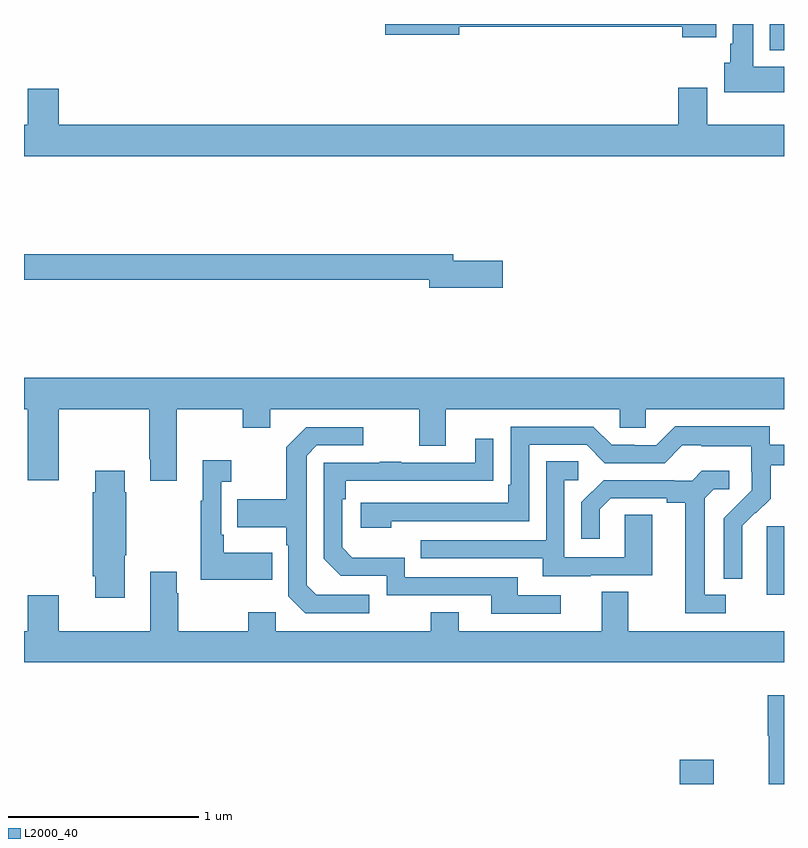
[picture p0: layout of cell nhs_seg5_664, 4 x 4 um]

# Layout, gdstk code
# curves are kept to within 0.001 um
import gdstk
lib = gdstk.Library(unit=1e-6, precision=1e-09)
def R(c, l, rs):  # rectangles x0, y0, x1, y1
    for r in rs: c.add(gdstk.rectangle(r[:2], r[2:], *l))
def P(c, l, *ps):  # polygons
    for p in ps: c.add(gdstk.Polygon(p, *l))
L2000_40 = (2000, 40)

nhs_seg5_664 = lib.new_cell('nhs_seg5_664')
R(nhs_seg5_664, L2000_40, [(156.452,842.799,156.63,842.926), (156.908,843.794,157,844.155), (156.926,846.662,157,846.799)])
P(nhs_seg5_664, L2000_40, [(157,846.574),(156.838,846.574),(156.838,846.799),(156.731,846.799),(156.731,846.694),(156.716,846.694),(156.716,846.594),(156.686,846.594),(156.686,846.44),(157,846.44)],
  [(156.643,846.799),(154.902,846.799),(154.902,846.742),(155.29,846.742),(155.29,846.784),(156.464,846.784),(156.464,846.728),(156.643,846.728)],
  [(157,846.268),(156.595,846.268),(156.595,846.463),(156.443,846.463),(156.443,846.268),(153.184,846.268),(153.184,846.457),(153.02,846.457),(153.02,846.268),(153,846.268),(153,846.104),(157,846.104)],
  [(155.521,845.552),(155.26,845.552),(155.26,845.588),(153,845.588),(153,845.452),(155.132,845.452),(155.132,845.41),(155.521,845.41)],
  [(153.805,844.772),(154.15,844.772),(154.15,844.673),(154.297,844.673),(154.297,844.772),(155.081,844.772),(155.081,844.578),(155.221,844.578),(155.221,844.772),(156.135,844.772),(156.135,844.674),(156.273,844.674),(156.273,844.772),(157,844.772),(157,844.936),(153,844.936),(153,844.772),(153.02,844.772),(153.02,844.398),(153.184,844.398),(153.184,844.772),(153.658,844.772),(153.658,844.507),(153.665,844.507),(153.665,844.395),(153.805,844.395)],
  [(156.78,844.034),(156.779,844.157),(156.849,844.227),(156.852,844.224),(156.929,844.301),(156.929,844.476),(157,844.476),(157,844.584),(156.924,844.584),(156.924,844.681),(156.427,844.681),(156.327,844.581),(156.212,844.581),(156.212,844.584),(156.093,844.584),(155.997,844.68),(155.562,844.68),(155.562,844.375),(155.549,844.375),(155.549,844.278),(154.773,844.278),(154.773,844.148),(154.934,844.148),(154.934,844.182),(155.658,844.182),(155.658,844.584),(155.961,844.584),(156.057,844.488),(156.372,844.488),(156.465,844.581),(156.565,844.581),(156.565,844.577),(156.828,844.577),(156.828,844.443),(156.83,844.443),(156.83,844.346),(156.684,844.198),(156.684,843.88),(156.78,843.88)],
  [(154.816,843.795),(154.539,843.795),(154.488,843.846),(154.488,844.527),(154.542,844.581),(154.786,844.581),(154.786,844.677),(154.485,844.677),(154.38,844.571),(154.38,844.299),(154.123,844.299),(154.123,844.151),(154.38,844.151),(154.38,844.055),(154.392,844.055),(154.392,843.786),(154.479,843.699),(154.816,843.699)],
  [(155.824,843.792),(155.599,843.792),(155.599,843.888),(155.004,843.888),(155.004,843.991),(154.727,843.991),(154.674,844.044),(154.674,844.298),(154.694,844.298),(154.694,844.395),(155.471,844.396),(155.471,844.615),(155.375,844.615),(155.375,844.491),(154.985,844.491),(154.985,844.496),(154.873,844.496),(154.873,844.491),(154.578,844.491),(154.578,843.984),(154.668,843.894),(154.908,843.894),(154.908,843.792),(155.459,843.792),(155.459,843.696),(155.824,843.696)],
  [(154.307,844.015),(154.051,844.015),(154.051,844.111),(154.038,844.111),(154.038,844.391),(154.09,844.391),(154.09,844.504),(153.941,844.504),(153.941,844.291),(153.93,844.291),(153.93,843.875),(154.307,843.875)],
  [(155.983,843.897),(156.307,843.897),(156.307,844.217),(156.162,844.217),(156.162,843.993),(155.844,843.993),(155.844,844.398),(155.917,844.398),(155.917,844.499),(155.748,844.499),(155.748,844.083),(155.089,844.083),(155.089,843.987),(155.729,843.987),(155.729,843.893),(155.983,843.893)],
  [(153.529,844.003),(153.537,844.003),(153.537,844.334),(153.529,844.334),(153.529,844.447),(153.374,844.447),(153.374,844.334),(153.362,844.334),(153.362,843.892),(153.374,843.892),(153.374,843.78),(153.529,843.78)],
  [(156.694,843.795),(156.583,843.795),(156.583,844.303),(156.63,844.35),(156.712,844.35),(156.712,844.447),(156.568,844.447),(156.516,844.395),(156.422,844.395),(156.422,844.398),(156.05,844.398),(155.934,844.282),(155.934,844.089),(156.031,844.089),(156.031,844.245),(156.088,844.302),(156.383,844.302),(156.383,844.28),(156.479,844.28),(156.479,843.699),(156.694,843.699)],
  [(157,843.604),(156.181,843.604),(156.181,843.812),(156.041,843.812),(156.041,843.604),(155.287,843.604),(155.287,843.703),(155.14,843.703),(155.14,843.604),(154.326,843.604),(154.326,843.703),(154.18,843.703),(154.18,843.604),(153.813,843.604),(153.813,843.803),(153.805,843.803),(153.805,843.916),(153.665,843.916),(153.665,843.604),(153.184,843.604),(153.184,843.793),(153.02,843.793),(153.02,843.604),(153,843.604),(153,843.44),(157,843.44)],
  [(157,843.265),(156.914,843.265),(156.914,843.052),(156.919,843.052),(156.919,842.799),(157,842.799)])

lib.write_gds('nhs_seg5_664.gds')
